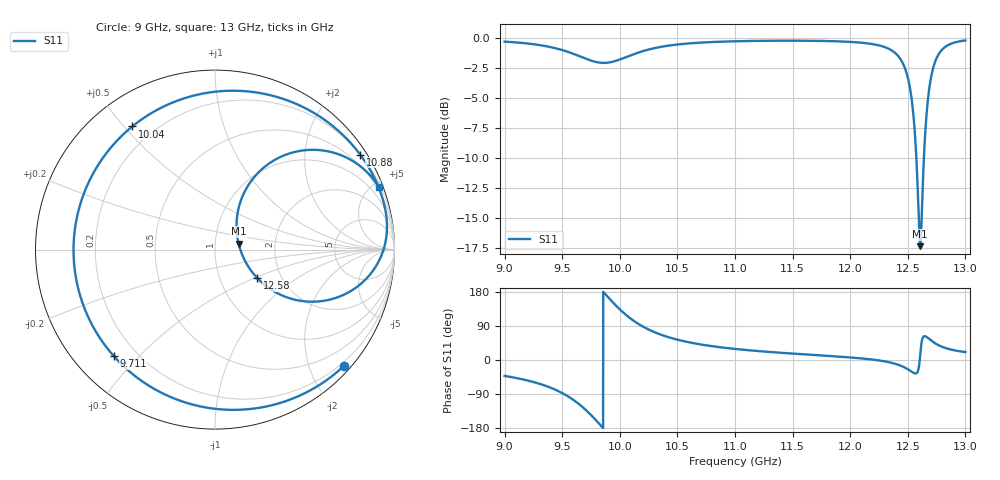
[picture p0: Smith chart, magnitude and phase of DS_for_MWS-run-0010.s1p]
! TOUCHSTONE file generated by CST DESIGN STUDIO
! Date and time: Tue Feb  4 17:49:46 2025
! Project name: C:\Work\MatlabApps\UnitCellOptimizationMatlab\CST\unitcell.cst
! Tree item: Tasks\Sweep1\SPara1\S-Parameters
! Header version: 2024
! Port assignment regex: !\s*Touchstone port\s*([0-9]+)\s*=\s*(CST MWS port|CST DES external port|CST DES block port)\s*(.+)\s* \(\"(.*)\"\)(\s*mode\s*([0-9]+))?.*
! Touchstone port assignment:
! Touchstone port 1 = CST DES external port 1 ("")
# GHz S MA R 50
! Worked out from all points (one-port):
!   4001 points, 9 GHz to 13 GHz, reference 50 ohm
!   lowest |S11| = -17.4 dB at 12.61 GHz (marker M1), VSWR 1.31, Z = 64.9 + j4.47 ohm
!   |S11| at or under -10 dB: 12.57 GHz to 12.64 GHz (65.44 MHz wide, 0.519 % of centre)
!   S11 on the Smith chart (normalised r, x): 9 GHz: 0.13, -2.60; 9.711 GHz: 0.12, -0.42; 10.04 GHz: 0.12, +0.53; 10.88 GHz: 0.21, +3.34; 12.58 GHz: 1.51, -0.52; 13 GHz: 0.34, +5.40
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9  0.9672 -42.0
9.278  0.9394 -60.5
9.5  0.892 -87.2
9.613  0.8545 -108.7
9.711  0.8186 -133.6
9.789  0.7961 -157.6
9.856  0.7883 180.0
9.923  0.7941 157.5
10  0.8145 133.6
10.035  0.8265 123.9
10.116  0.8555 104.4
10.208  0.885 86.9
10.346  0.9177 68.0
10.5  0.9406 53.7
10.883  0.9667 33.2
11  0.9703 29.2
11.5  0.976 16.9
12  0.9646 6.7
12.347  0.8965 -6.6
12.435  0.8195 -14.6
12.5  0.6848 -24.3
12.546  0.4933 -33.2
12.579  0.2837 -34.0
12.608  0.1355 14.4
12.665  0.4952 60.5
12.717  0.7406 48.3
12.825  0.9194 31.8
13  0.978 20.9
